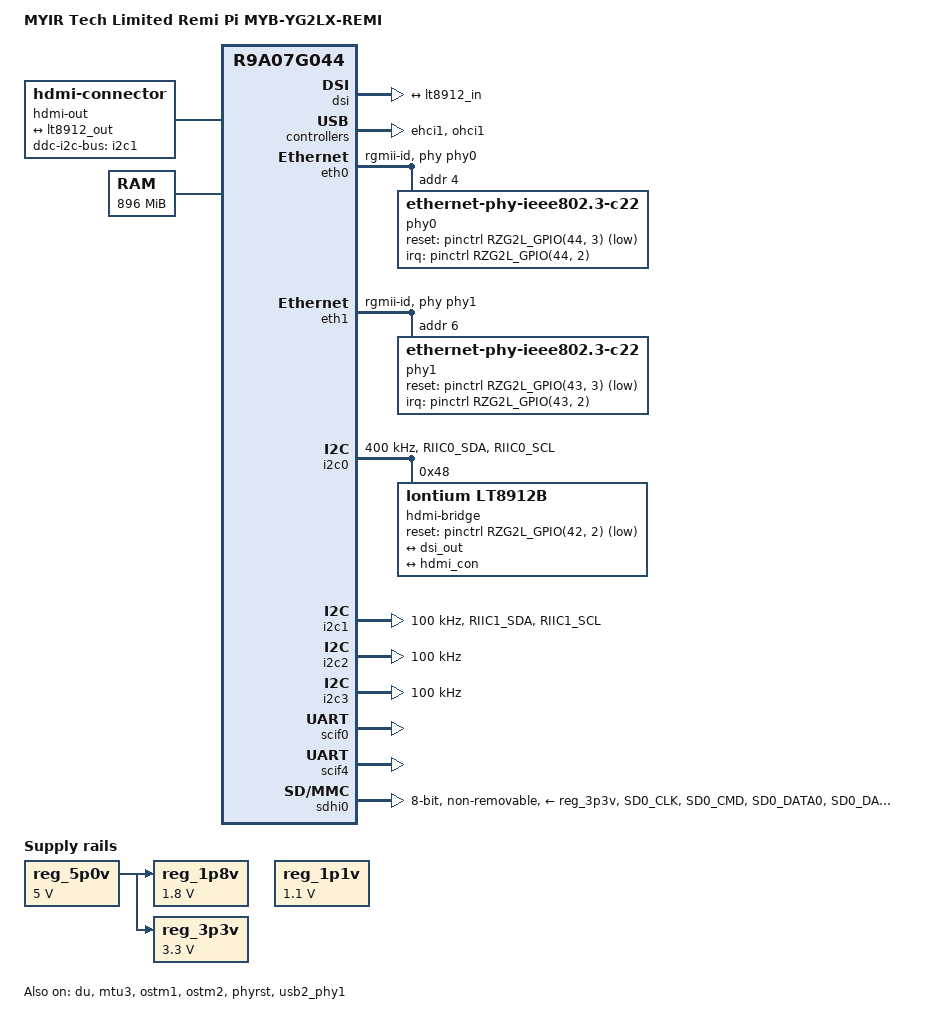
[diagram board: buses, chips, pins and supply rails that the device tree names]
// SPDX-License-Identifier: (GPL-2.0-only OR BSD-2-Clause)
/*
 * Device Tree Source for the MYIR Remi Pi
 *
 * Copyright (C) 2022 MYIR Electronics Corp.
 * Copyright (C) 2025 Collabora Ltd.
 */

/dts-v1/;

#include <dt-bindings/gpio/gpio.h>
#include <dt-bindings/pinctrl/rzg2l-pinctrl.h>

#include "r9a07g044l2.dtsi"

/ {
	model = "MYIR Tech Limited Remi Pi MYB-YG2LX-REMI";
	compatible = "myir,remi-pi", "renesas,r9a07g044l2", "renesas,r9a07g044";

	aliases {
		ethernet0 = &eth0;
		ethernet1 = &eth1;

		i2c0 = &i2c0;
		i2c1 = &i2c1;
		i2c2 = &i2c2;
		i2c3 = &i2c3;

		mmc0 = &sdhi0;

		serial0 = &scif0;
		serial4 = &scif4;
	};

	chosen {
		stdout-path = "serial0:115200n8";
	};

	hdmi-out {
		compatible = "hdmi-connector";
		type = "a";
		ddc-i2c-bus = <&i2c1>;

		port {
			hdmi_con: endpoint {
				remote-endpoint = <&lt8912_out>;
			};
		};
	};

	memory@48000000 {
		device_type = "memory";
		/* first 128MB is reserved for secure area. */
		reg = <0x0 0x48000000 0x0 0x38000000>;
	};

	reg_1p8v: regulator-1p8v {
		compatible = "regulator-fixed";
		regulator-name = "fixed-1.8V";
		vin-supply = <&reg_5p0v>;
		regulator-min-microvolt = <1800000>;
		regulator-max-microvolt = <1800000>;
		regulator-always-on;
	};

	reg_3p3v: regulator-3p3v {
		compatible = "regulator-fixed";
		regulator-name = "fixed-3.3V";
		vin-supply = <&reg_5p0v>;
		regulator-min-microvolt = <3300000>;
		regulator-max-microvolt = <3300000>;
		regulator-always-on;
	};

	reg_5p0v: regulator-5p0v {
		compatible = "regulator-fixed";
		regulator-name = "fixed-5.0V";
		regulator-min-microvolt = <5000000>;
		regulator-max-microvolt = <5000000>;
	};

	reg_1p1v: regulator-vdd-core {
		compatible = "regulator-fixed";
		regulator-name = "fixed-1.1V";
		regulator-min-microvolt = <1100000>;
		regulator-max-microvolt = <1100000>;
		regulator-always-on;
	};
};

&dsi {
	status = "okay";

	ports {
		port@1 {
			dsi_out: endpoint {
				remote-endpoint = <&lt8912_in>;
				data-lanes = <1 2 3 4>;
			};
		};
	};
};

&du {
	status = "okay";
};

&ehci1 {
	status = "okay";
};

&eth0 {
	pinctrl-0 = <&eth0_pins>;
	pinctrl-names = "default";
	phy-handle = <&phy0>;
	phy-mode = "rgmii-id";
	status = "okay";

	phy0: ethernet-phy@4 {
		compatible = "ethernet-phy-ieee802.3-c22";
		reg = <4>;
		interrupts-extended = <&pinctrl RZG2L_GPIO(44, 2) IRQ_TYPE_LEVEL_LOW>;
		reset-gpios = <&pinctrl RZG2L_GPIO(44, 3) GPIO_ACTIVE_LOW>;
	};
};

&eth1 {
	pinctrl-0 = <&eth1_pins>;
	pinctrl-names = "default";
	phy-handle = <&phy1>;
	phy-mode = "rgmii-id";
	status = "okay";

	phy1: ethernet-phy@6 {
		compatible = "ethernet-phy-ieee802.3-c22";
		reg = <6>;
		interrupts-extended = <&pinctrl RZG2L_GPIO(43, 2) IRQ_TYPE_LEVEL_LOW>;
		reset-gpios = <&pinctrl RZG2L_GPIO(43, 3) GPIO_ACTIVE_LOW>;
	};
};

&extal_clk {
	clock-frequency = <24000000>;
};

&gpu {
	mali-supply = <&reg_1p1v>;
};

&i2c0 {
	pinctrl-0 = <&i2c0_pins>;
	pinctrl-names = "default";

	clock-frequency = <400000>;
	status = "okay";

	hdmi-bridge@48 {
		compatible = "lontium,lt8912b";
		reg = <0x48> ;
		reset-gpios = <&pinctrl RZG2L_GPIO(42, 2) GPIO_ACTIVE_LOW>;

		ports {
			#address-cells = <1>;
			#size-cells = <0>;

			port@0 {
				reg = <0>;

				lt8912_in: endpoint {
					data-lanes = <1 2 3 4>;
					remote-endpoint = <&dsi_out>;
				};
			};

			port@1 {
				reg = <1>;

				lt8912_out: endpoint {
					remote-endpoint = <&hdmi_con>;
				};
			};
		};
	};
};

&i2c1 {
	pinctrl-0 = <&i2c1_pins>;
	pinctrl-names = "default";
	clock-frequency = <100000>;
	status = "okay";
};

&i2c2 {
	pinctrl-0 = <&i2c2_pins>;
	pinctrl-names = "default";
	clock-frequency = <100000>;
	status = "okay";
};

&i2c3 {
	pinctrl-0 = <&i2c3_pins>;
	pinctrl-names = "default";
	clock-frequency = <100000>;
	status = "okay";
};

&mtu3 {
	status = "okay";
};

&ohci1 {
	status = "okay";
};

&ostm1 {
	status = "okay";
};

&ostm2 {
	status = "okay";
};

&phyrst {
	status = "okay";
};

&pinctrl {
	eth0_pins: eth0 {
		pinmux = <RZG2L_PORT_PINMUX(27, 1, 1)>, /* ET0_MDC */
			 <RZG2L_PORT_PINMUX(28, 0, 1)>, /* ET0_MDIO */
			 <RZG2L_PORT_PINMUX(20, 0, 1)>, /* ET0_TXC */
			 <RZG2L_PORT_PINMUX(20, 1, 1)>, /* ET0_TX_CTL */
			 <RZG2L_PORT_PINMUX(20, 2, 1)>, /* ET0_TXD0 */
			 <RZG2L_PORT_PINMUX(21, 0, 1)>, /* ET0_TXD1 */
			 <RZG2L_PORT_PINMUX(21, 1, 1)>, /* ET0_TXD2 */
			 <RZG2L_PORT_PINMUX(22, 0, 1)>, /* ET0_TXD3 */
			 <RZG2L_PORT_PINMUX(24, 0, 1)>, /* ET0_RXC */
			 <RZG2L_PORT_PINMUX(24, 1, 1)>, /* ET0_RX_CTL */
			 <RZG2L_PORT_PINMUX(25, 0, 1)>, /* ET0_RXD0 */
			 <RZG2L_PORT_PINMUX(25, 1, 1)>, /* ET0_RXD1 */
			 <RZG2L_PORT_PINMUX(26, 0, 1)>, /* ET0_RXD2 */
			 <RZG2L_PORT_PINMUX(26, 1, 1)>; /* ET0_RXD3 */
	};

	eth1_pins: eth1 {
		pinmux = <RZG2L_PORT_PINMUX(37, 0, 1)>, /* ET1_MDC */
			 <RZG2L_PORT_PINMUX(37, 1, 1)>, /* ET1_MDIO */
			 <RZG2L_PORT_PINMUX(29, 0, 1)>, /* ET1_TXC */
			 <RZG2L_PORT_PINMUX(29, 1, 1)>, /* ET1_TX_CTL */
			 <RZG2L_PORT_PINMUX(30, 0, 1)>, /* ET1_TXD0 */
			 <RZG2L_PORT_PINMUX(30, 1, 1)>, /* ET1_TXD1 */
			 <RZG2L_PORT_PINMUX(31, 0, 1)>, /* ET1_TXD2 */
			 <RZG2L_PORT_PINMUX(31, 1, 1)>, /* ET1_TXD3 */
			 <RZG2L_PORT_PINMUX(33, 1, 1)>, /* ET1_RXC */
			 <RZG2L_PORT_PINMUX(34, 0, 1)>, /* ET1_RX_CTL */
			 <RZG2L_PORT_PINMUX(34, 1, 1)>, /* ET1_RXD0 */
			 <RZG2L_PORT_PINMUX(35, 0, 1)>, /* ET1_RXD1 */
			 <RZG2L_PORT_PINMUX(35, 1, 1)>, /* ET1_RXD2 */
			 <RZG2L_PORT_PINMUX(36, 0, 1)>; /* ET1_RXD3 */
	};

	i2c0_pins: i2c0 {
		pins = "RIIC0_SDA", "RIIC0_SCL";
		input-enable;
	};

	i2c1_pins: i2c1 {
		pins = "RIIC1_SDA", "RIIC1_SCL";
		input-enable;
	};

	i2c2_pins: i2c2 {
		pinmux = <RZG2L_PORT_PINMUX(3, 0, 2)>, /* SDA */
			 <RZG2L_PORT_PINMUX(3, 1, 2)>; /* SCL */
	};

	i2c3_pins: i2c3 {
		pinmux = <RZG2L_PORT_PINMUX(18, 0, 3)>, /* SDA */
			 <RZG2L_PORT_PINMUX(18, 1, 3)>; /* SCL */
	};

	scif0_pins: scif0 {
		pinmux = <RZG2L_PORT_PINMUX(38, 0, 1)>, /* TxD */
			 <RZG2L_PORT_PINMUX(38, 1, 1)>; /* RxD */
	};

	scif4_pins: scif4 {
		pinmux = <RZG2L_PORT_PINMUX(2, 0, 5)>, /* TxD */
			 <RZG2L_PORT_PINMUX(2, 1, 5)>; /* RxD */
	};

	sdhi0_pins: sd0 {
		sd0-ctrl {
			pins = "SD0_CLK", "SD0_CMD";
			power-source = <1800>;
		};

		sd0-data {
			pins = "SD0_DATA0", "SD0_DATA1", "SD0_DATA2", "SD0_DATA3",
			       "SD0_DATA4", "SD0_DATA5", "SD0_DATA6", "SD0_DATA7";
			power-source = <1800>;
		};

		sd0-rst {
			pins = "SD0_RST#";
			power-source = <1800>;
		};
	};
};

&scif0 {
	pinctrl-0 = <&scif0_pins>;
	pinctrl-names = "default";
	status = "okay";
};

&scif4 {
	pinctrl-0 = <&scif4_pins>;
	pinctrl-names = "default";
	status = "okay";
};

&sdhi0 {
	pinctrl-0 = <&sdhi0_pins>;
	pinctrl-1 = <&sdhi0_pins>;
	pinctrl-names = "default", "state_uhs";

	vmmc-supply = <&reg_3p3v>;
	vqmmc-supply = <&reg_1p8v>;
	bus-width = <8>;
	mmc-hs200-1_8v;
	non-removable;
	fixed-emmc-driver-type = <1>;
	status = "okay";
};

&usb2_phy1 {
	status = "okay";
};
